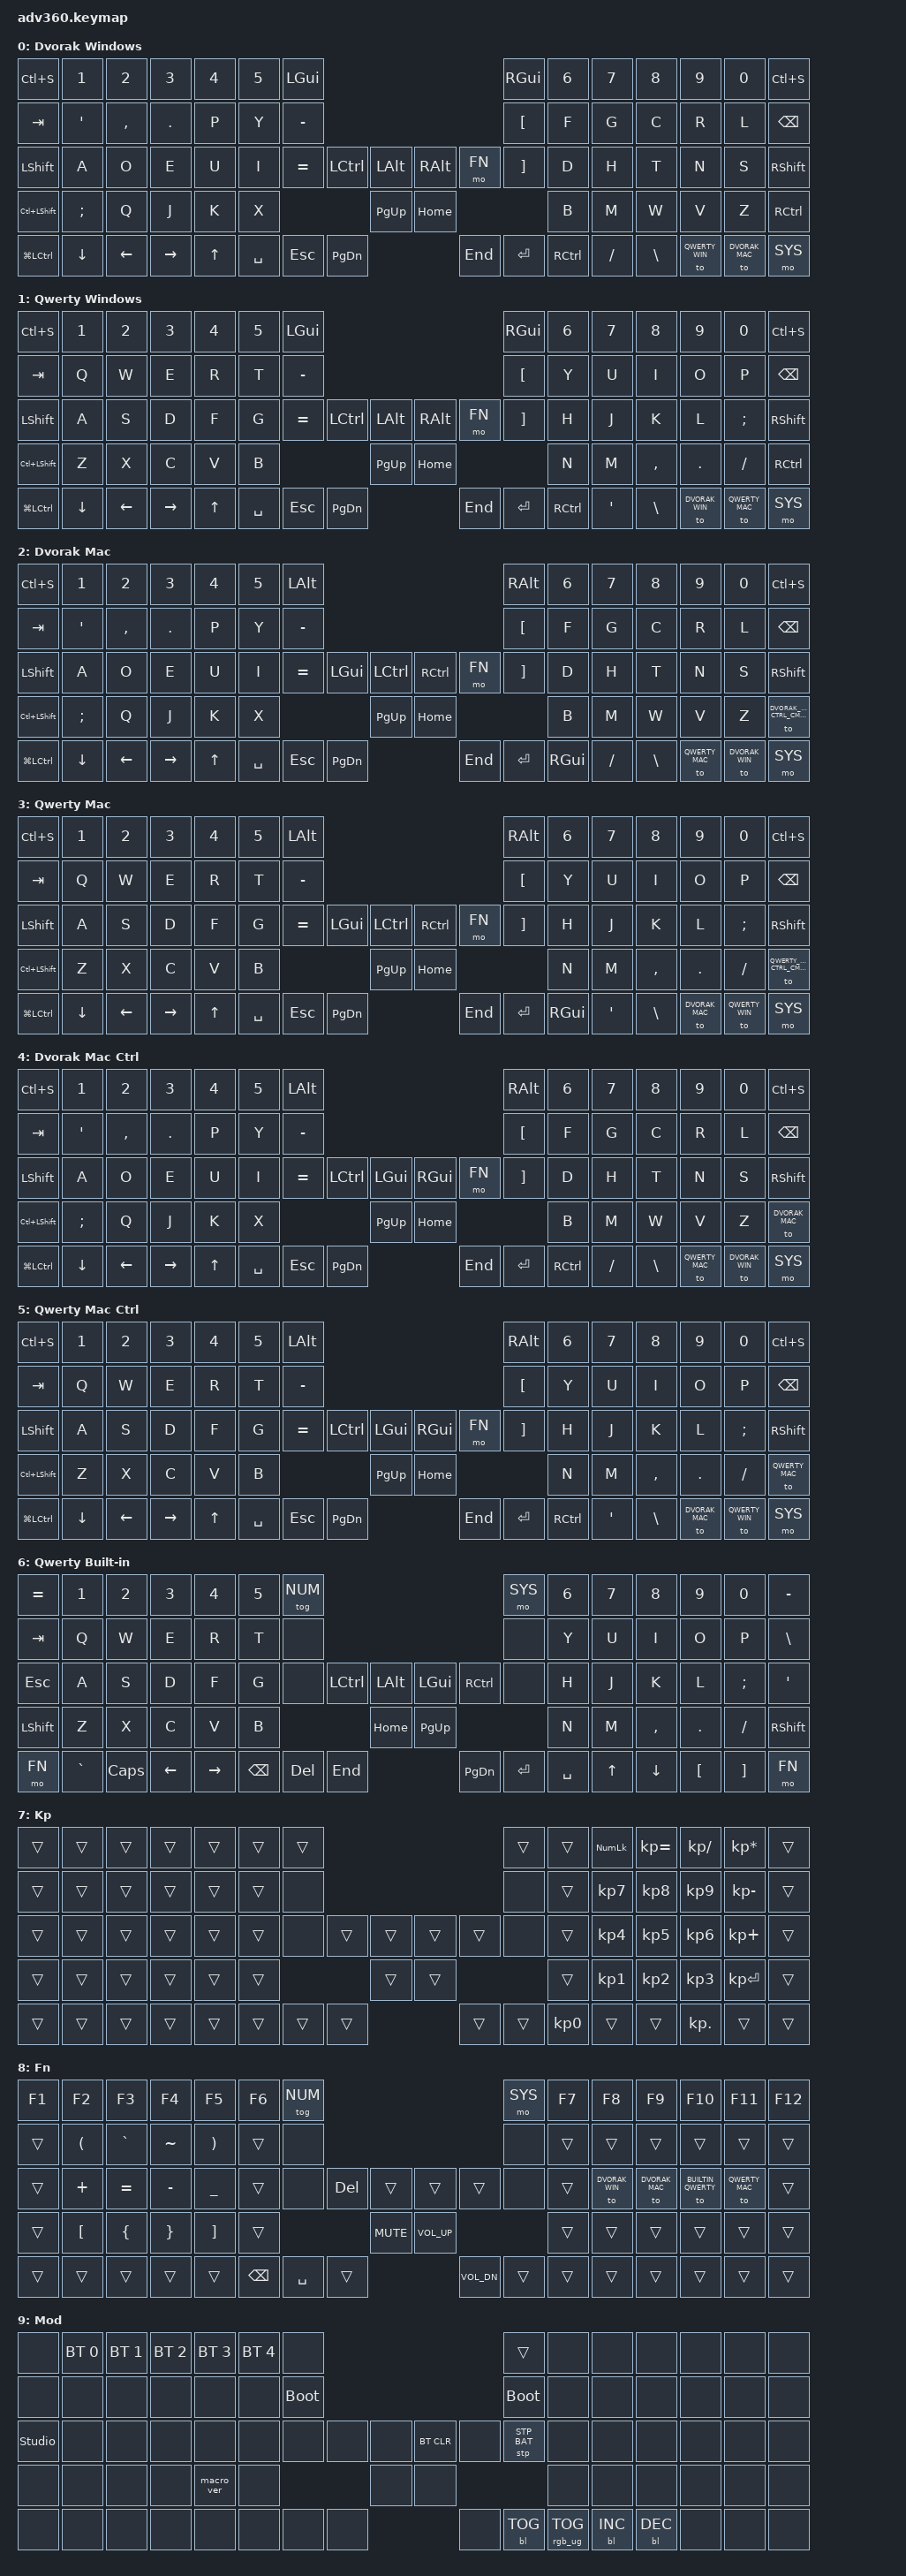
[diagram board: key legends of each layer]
#include <behaviors.dtsi>
#include <dt-bindings/zmk/keys.h>
#include <dt-bindings/zmk/bt.h>
#include <dt-bindings/zmk/rgb.h>
#include <dt-bindings/zmk/stp.h>
#include <dt-bindings/zmk/backlight.h>
#include <dt-bindings/zmk/pointing.h>

#define DVORAK_WIN               0
#define QWERTY_WIN               1
#define DVORAK_MAC               2
#define QWERTY_MAC               3
#define DVORAK_MAC_CTRL_CMD_SWAP 4
#define QWERTY_MAC_CTRL_CMD_SWAP 5
#define BUILTIN_QWERTY           6
#define NUM                      7
#define FN                       8
#define SYS                      9

/ {
    behaviors {
      #include "macros.dtsi"
      #include "version.dtsi"

      hm: homerow_mods {
          compatible = "zmk,behavior-hold-tap";
          display-name = "Homerow Hold Tap Mod";
          #binding-cells = <2>;
          tapping-term-ms = <200>;
          quick_tap_ms = <175>;
          flavor = "tap-preferred";
          bindings = <&kp>, <&kp>;
      };
    };

  keymap {
    compatible = "zmk,keymap";

    default_layer {
      display-name = "Dvorak Windows";
      bindings = <
        &kp LC(S)     &kp N1   &kp N2    &kp N3    &kp N4 &kp N5 &kp LGUI                                                             &kp RGUI &kp N6 &kp N7   &kp N8   &kp N9         &kp N0         &kp LC(S)
        &kp TAB       &kp SQT  &kp COMMA &kp DOT   &kp P  &kp Y  &kp MINUS                                                            &kp LBKT &kp F  &kp G    &kp C    &kp R          &kp L          &kp BSPC
        &kp LSHFT     &kp A    &kp O     &kp E     &kp U  &kp I  &kp EQUAL           &kp LCTRL &kp LALT  &kp RALT &mo FN              &kp RBKT &kp D  &kp H    &kp T    &kp N          &kp S          &kp RSHFT
        &kp LC(LSHFT) &kp SEMI &kp Q     &kp J     &kp K  &kp X                                &kp PG_UP &kp HOME                              &kp B  &kp M    &kp W    &kp V          &kp Z          &kp RCTRL
        &kp LG(LCTRL) &kp DOWN &kp LEFT  &kp RIGHT &kp UP                  &kp SPACE &kp ESC   &kp PG_DN &kp END  &kp ENTER &kp RCTRL                 &kp FSLH &kp BSLH &to QWERTY_WIN &to DVORAK_MAC &mo SYS
      >;
    };
    qwerty_win {
      display-name = "Qwerty Windows";
      bindings = <
        &kp LC(S)     &kp N1   &kp N2   &kp N3    &kp N4 &kp N5 &kp LGUI                                                             &kp RGUI &kp N6 &kp N7  &kp N8    &kp N9         &kp N0         &kp LC(S)
        &kp TAB       &kp Q    &kp W    &kp E     &kp R  &kp T  &kp MINUS                                                            &kp LBKT &kp Y  &kp U   &kp I     &kp O          &kp P          &kp BSPC
        &kp LSHFT     &kp A    &kp S    &kp D     &kp F  &kp G  &kp EQUAL           &kp LCTRL &kp LALT  &kp RALT &mo FN              &kp RBKT &kp H  &kp J   &kp K     &kp L          &kp SEMI       &kp RSHFT
        &kp LC(LSHFT) &kp Z    &kp X    &kp C     &kp V  &kp B                                &kp PG_UP &kp HOME                              &kp N  &kp M   &kp COMMA &kp DOT        &kp FSLH       &kp RCTRL
        &kp LG(LCTRL) &kp DOWN &kp LEFT &kp RIGHT &kp UP                  &kp SPACE &kp ESC   &kp PG_DN &kp END  &kp ENTER &kp RCTRL                 &kp SQT &kp BSLH  &to DVORAK_WIN &to QWERTY_MAC &mo SYS
      >;
    };
    dvorak_mac {
      display-name = "Dvorak Mac";
      bindings = <
        &kp LC(S)     &kp N1   &kp N2    &kp N3    &kp N4 &kp N5 &kp LALT                                                            &kp RALT &kp N6 &kp N7   &kp N8   &kp N9         &kp N0         &kp LC(S)
        &kp TAB       &kp SQT  &kp COMMA &kp DOT   &kp P  &kp Y  &kp MINUS                                                           &kp LBKT &kp F  &kp G    &kp C    &kp R          &kp L          &kp BSPC
        &kp LSHFT     &kp A    &kp O     &kp E     &kp U  &kp I  &kp EQUAL           &kp LGUI &kp LCTRL &kp RCTRL &mo FN             &kp RBKT &kp D  &kp H    &kp T    &kp N          &kp S          &kp RSHFT
        &kp LC(LSHFT) &kp SEMI &kp Q     &kp J     &kp K  &kp X                               &kp PG_UP &kp HOME                              &kp B  &kp M    &kp W    &kp V          &kp Z          &to DVORAK_MAC_CTRL_CMD_SWAP
        &kp LG(LCTRL) &kp DOWN &kp LEFT  &kp RIGHT &kp UP                  &kp SPACE &kp ESC  &kp PG_DN &kp END   &kp ENTER &kp RGUI                 &kp FSLH &kp BSLH &to QWERTY_MAC &to DVORAK_WIN &mo SYS
      >;
    };
    qwerty_mac {
      display-name = "Qwerty Mac";
      bindings = <
        &kp LC(S)     &kp N1   &kp N2   &kp N3    &kp N4 &kp N5 &kp LALT                                                            &kp RALT &kp N6 &kp N7  &kp N8    &kp N9         &kp N0         &kp LC(S)
        &kp TAB       &kp Q    &kp W    &kp E     &kp R  &kp T  &kp MINUS                                                           &kp LBKT &kp Y  &kp U   &kp I     &kp O          &kp P          &kp BSPC
        &kp LSHFT     &kp A    &kp S    &kp D     &kp F  &kp G  &kp EQUAL           &kp LGUI &kp LCTRL &kp RCTRL &mo FN             &kp RBKT &kp H  &kp J   &kp K     &kp L          &kp SEMI       &kp RSHFT
        &kp LC(LSHFT) &kp Z    &kp X    &kp C     &kp V  &kp B                               &kp PG_UP &kp HOME                              &kp N  &kp M   &kp COMMA &kp DOT        &kp FSLH       &to QWERTY_MAC_CTRL_CMD_SWAP
        &kp LG(LCTRL) &kp DOWN &kp LEFT &kp RIGHT &kp UP                  &kp SPACE &kp ESC  &kp PG_DN &kp END   &kp ENTER &kp RGUI                 &kp SQT &kp BSLH  &to DVORAK_MAC &to QWERTY_WIN &mo SYS
      >;
    };
    dvorak_mac_ctrl_cmd_swap {
      display-name = "Dvorak Mac Ctrl";
      bindings = <
        &kp LC(S)     &kp N1   &kp N2    &kp N3    &kp N4 &kp N5 &kp LALT                                                             &kp RALT &kp N6 &kp N7   &kp N8   &kp N9         &kp N0         &kp LC(S)
        &kp TAB       &kp SQT  &kp COMMA &kp DOT   &kp P  &kp Y  &kp MINUS                                                            &kp LBKT &kp F  &kp G    &kp C    &kp R          &kp L          &kp BSPC
        &kp LSHFT     &kp A    &kp O     &kp E     &kp U  &kp I  &kp EQUAL           &kp LCTRL &kp LGUI  &kp RGUI &mo FN              &kp RBKT &kp D  &kp H    &kp T    &kp N          &kp S          &kp RSHFT
        &kp LC(LSHFT) &kp SEMI &kp Q     &kp J     &kp K  &kp X                                &kp PG_UP &kp HOME                              &kp B  &kp M    &kp W    &kp V          &kp Z          &to DVORAK_MAC
        &kp LG(LCTRL) &kp DOWN &kp LEFT  &kp RIGHT &kp UP                  &kp SPACE &kp ESC   &kp PG_DN &kp END  &kp ENTER &kp RCTRL                 &kp FSLH &kp BSLH &to QWERTY_MAC &to DVORAK_WIN &mo SYS
      >;
    };
    qwerty_mac_ctrl_cmd_swap {
      display-name = "Qwerty Mac Ctrl";
      bindings = <
        &kp LC(S)     &kp N1   &kp N2   &kp N3    &kp N4 &kp N5 &kp LALT                                                             &kp RALT &kp N6 &kp N7  &kp N8    &kp N9         &kp N0         &kp LC(S)
        &kp TAB       &kp Q    &kp W    &kp E     &kp R  &kp T  &kp MINUS                                                            &kp LBKT &kp Y  &kp U   &kp I     &kp O          &kp P          &kp BSPC
        &kp LSHFT     &kp A    &kp S    &kp D     &kp F  &kp G  &kp EQUAL           &kp LCTRL &kp LGUI  &kp RGUI &mo FN              &kp RBKT &kp H  &kp J   &kp K     &kp L          &kp SEMI       &kp RSHFT
        &kp LC(LSHFT) &kp Z    &kp X    &kp C     &kp V  &kp B                                &kp PG_UP &kp HOME                              &kp N  &kp M   &kp COMMA &kp DOT        &kp FSLH       &to QWERTY_MAC
        &kp LG(LCTRL) &kp DOWN &kp LEFT &kp RIGHT &kp UP                  &kp SPACE &kp ESC   &kp PG_DN &kp END  &kp ENTER &kp RCTRL                 &kp SQT &kp BSLH  &to DVORAK_MAC &to QWERTY_WIN &mo SYS
      >;
    };
    builtin_qwerty {
      display-name = "Qwerty Built-in";
      bindings = <
        &kp EQUAL &kp N1    &kp N2   &kp N3   &kp N4     &kp N5 &tog NUM                                                           &mo SYS &kp N6 &kp N7 &kp N8    &kp N9   &kp N0   &kp MINUS
        &kp TAB   &kp Q     &kp W    &kp E    &kp R      &kp T  &none                                                              &none   &kp Y  &kp U  &kp I     &kp O    &kp P    &kp BSLH
        &kp ESC   &kp A     &kp S    &kp D    &kp F      &kp G  &none             &kp LCTRL &kp LALT &kp LGUI  &kp RCTRL           &none   &kp H  &kp J  &kp K     &kp L    &kp SEMI &kp SQT
        &kp LSHFT &kp Z     &kp X    &kp C    &kp V      &kp B                              &kp HOME &kp PG_UP                             &kp N  &kp M  &kp COMMA &kp DOT  &kp FSLH &kp RSHFT
        &mo FN    &kp GRAVE &kp CAPS &kp LEFT &kp RIGHT                  &kp BSPC &kp DEL   &kp END  &kp PG_DN &kp ENTER &kp SPACE                &kp UP &kp DOWN  &kp LBKT &kp RBKT &mo FN
      >;
    };
    keypad {
      display-name = "Kp";
      bindings = <
        &trans &trans &trans &trans &trans &trans &trans                                                &trans &trans &kp KP_NUM &kp KP_EQUAL &kp KP_DIVIDE &kp KP_MULTIPLY &trans
        &trans &trans &trans &trans &trans &trans &none                                                 &none  &trans &kp KP_N7  &kp KP_N8    &kp KP_N9     &kp KP_MINUS    &trans
        &trans &trans &trans &trans &trans &trans &none           &trans &trans &trans &trans           &none  &trans &kp KP_N4  &kp KP_N5    &kp KP_N6     &kp KP_PLUS     &trans
        &trans &trans &trans &trans &trans &trans                        &trans &trans                         &trans &kp KP_N1  &kp KP_N2    &kp KP_N3     &kp KP_ENTER    &trans
        &trans &trans &trans &trans &trans               &trans   &trans &trans &trans &trans &kp KP_N0               &trans     &trans       &kp KP_DOT    &trans          &trans
      >;
    };
    fn {
      display-name = "Fn";
      bindings = <
        &kp F1 &kp F2               &kp F3         &kp F4          &kp F5                &kp F6 &tog NUM                                                          &mo SYS &kp F7 &kp F8         &kp F9         &kp F10            &kp F11        &kp F12
        &trans &kp LEFT_PARENTHESIS &kp GRAVE      &kp TILDE       &kp RIGHT_PARENTHESIS &trans &none                                                             &none   &trans &trans         &trans         &trans             &trans         &trans
        &trans &kp PLUS             &kp EQUAL      &kp MINUS       &kp UNDERSCORE        &trans &none             &kp DEL   &trans     &trans       &trans        &none   &trans &to DVORAK_WIN &to DVORAK_MAC &to BUILTIN_QWERTY &to QWERTY_MAC &trans
        &trans &kp LEFT_BRACKET     &kp LEFT_BRACE &kp RIGHT_BRACE &kp RIGHT_BRACKET     &trans                             &kp C_MUTE &kp C_VOL_UP                       &trans &trans         &trans         &trans             &trans         &trans
        &trans &trans               &trans         &trans          &trans                                &kp BSPC &kp SPACE &trans     &kp C_VOL_DN &trans &trans                &trans         &trans         &trans             &trans         &trans
      >;
    };
    mod {
      display-name = "Mod";
      bindings = <
        &none          &bt BT_SEL 0 &bt BT_SEL 1 &bt BT_SEL 2 &bt BT_SEL 3 &bt BT_SEL 4 &none                                                                     &trans       &none        &none        &none        &none &none &none
        &none          &none        &none        &none        &none        &none        &bootloader                                                               &bootloader  &none        &none        &none        &none &none &none
        &studio_unlock &none        &none        &none        &none        &none        &none                   &none &none &bt BT_CLR &none                      &stp STP_BAT &none        &none        &none        &none &none &none
        &none          &none        &none        &none        &macro_ver   &none                                      &none &none                                              &none        &none        &none        &none &none &none
        &none          &none        &none        &none        &none                                       &none &none &none &none      &bl BL_TOG &rgb_ug RGB_TOG                           &bl BL_INC   &bl BL_DEC   &none &none &none
      >;
    };
    extra1 {
      display-name = "Red";
      status = "reserved";
    };

    extra2 {
      display-name = "Purple";
      status = "reserved";
    };

    extra3 {
      display-name = "Cyan";
      status = "reserved";
    };

    extra4 {
      display-name = "Yellow";
      status = "reserved";
    };
  };
};
